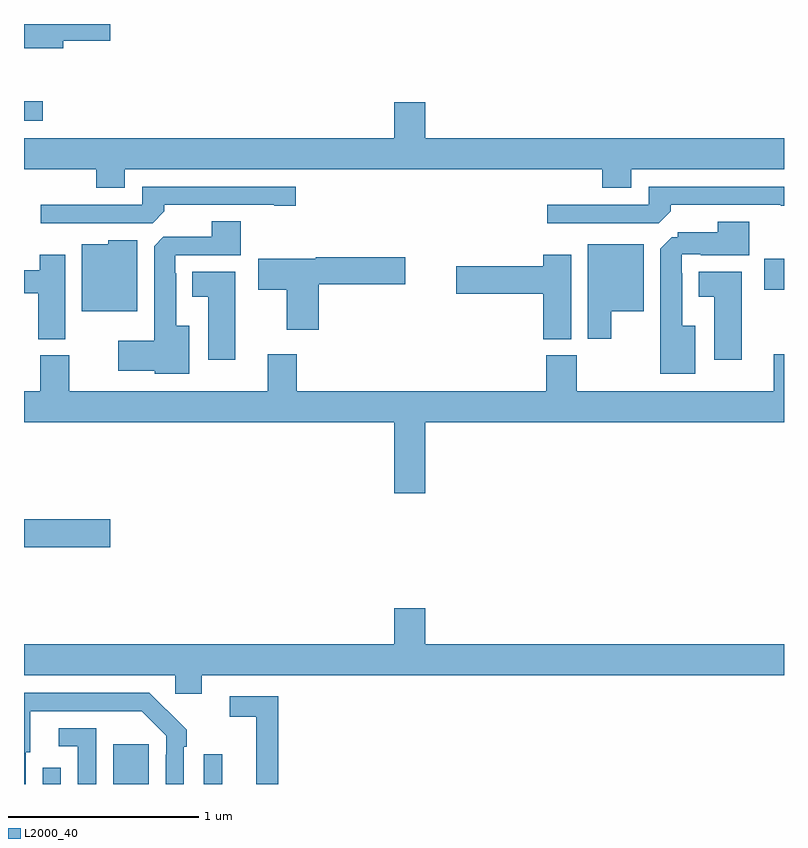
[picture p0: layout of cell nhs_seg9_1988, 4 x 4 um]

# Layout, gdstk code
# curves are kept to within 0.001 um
import gdstk
lib = gdstk.Library(unit=1e-6, precision=1e-09)
def R(c, l, rs):  # rectangles x0, y0, x1, y1
    for r in rs: c.add(gdstk.rectangle(r[:2], r[2:], *l))
def P(c, l, *ps):  # polygons
    for p in ps: c.add(gdstk.Polygon(p, *l))
L2000_40 = (2000, 40)

nhs_seg9_1988 = lib.new_cell('nhs_seg9_1988')
R(nhs_seg9_1988, L2000_40, [(223.098,1210.5,223.194,1210.585), (223.469,1210.5,223.657,1210.708), (223.947,1210.5,224.043,1210.657), (223,1211.747,223.453,1211.894), (226.896,1213.102,227,1213.264), (223,1213.992,223.099,1214.093)])
P(nhs_seg9_1988, L2000_40, [(223.207,1214.411),(223.453,1214.411),(223.453,1214.5),(223,1214.5),(223,1214.372),(223.207,1214.372)],
  [(223.531,1213.736),(226.043,1213.736),(226.043,1213.637),(226.195,1213.637),(226.195,1213.736),(227,1213.736),(227,1213.9),(225.112,1213.9),(225.112,1214.089),(224.948,1214.089),(224.948,1213.9),(223,1213.9),(223,1213.736),(223.379,1213.736),(223.379,1213.637),(223.531,1213.637)],
  [(226.403,1213.514),(226.403,1213.548),(226.982,1213.548),(226.982,1213.543),(227,1213.543),(227,1213.644),(226.287,1213.644),(226.287,1213.548),(225.753,1213.548),(225.753,1213.452),(226.341,1213.452)],
  [(223.739,1213.514),(223.739,1213.548),(224.318,1213.548),(224.318,1213.543),(224.431,1213.543),(224.431,1213.644),(223.623,1213.644),(223.623,1213.548),(223.089,1213.548),(223.089,1213.452),(223.677,1213.452)],
  [(223.87,1212.913),(223.801,1212.913),(223.801,1213.187),(223.797,1213.187),(223.797,1213.284),(224.141,1213.284),(224.141,1213.463),(223.988,1213.463),(223.988,1213.38),(223.734,1213.38),(223.685,1213.331),(223.685,1212.832),(223.497,1212.832),(223.497,1212.674),(223.689,1212.674),(223.689,1212.659),(223.87,1212.659)],
  [(226.534,1212.913),(226.465,1212.913),(226.465,1213.187),(226.461,1213.187),(226.461,1213.287),(226.561,1213.287),(226.561,1213.283),(226.816,1213.283),(226.816,1213.459),(226.652,1213.459),(226.652,1213.405),(226.44,1213.405),(226.44,1213.377),(226.409,1213.377),(226.349,1213.317),(226.349,1212.659),(226.534,1212.659)],
  [(223.597,1213.363),(223.443,1213.363),(223.443,1213.342),(223.304,1213.342),(223.304,1212.989),(223.597,1212.989)],
  [(226.09,1212.989),(226.261,1212.989),(226.261,1213.342),(225.968,1213.342),(225.968,1212.843),(226.09,1212.843)],
  [(225.88,1213.285),(225.734,1213.285),(225.734,1213.226),(225.276,1213.226),(225.276,1213.079),(225.734,1213.079),(225.734,1212.841),(225.88,1212.841)],
  [(223.216,1213.285),(223.082,1213.285),(223.082,1213.203),(223,1213.203),(223,1213.084),(223.075,1213.084),(223.075,1212.841),(223.216,1212.841)],
  [(224.552,1213.13),(225.007,1213.13),(225.007,1213.272),(224.535,1213.272),(224.535,1213.264),(224.232,1213.264),(224.232,1213.102),(224.384,1213.102),(224.384,1212.891),(224.552,1212.891)],
  [(224.113,1213.195),(223.886,1213.195),(223.886,1213.064),(223.97,1213.064),(223.97,1212.732),(224.113,1212.732)],
  [(226.777,1213.195),(226.55,1213.195),(226.55,1213.064),(226.634,1213.064),(226.634,1212.732),(226.777,1212.732)],
  [(225.112,1212.404),(227,1212.404),(227,1212.763),(226.946,1212.763),(226.946,1212.568),(225.909,1212.568),(225.909,1212.756),(225.749,1212.756),(225.749,1212.568),(224.435,1212.568),(224.435,1212.763),(224.282,1212.763),(224.282,1212.568),(223.237,1212.568),(223.237,1212.756),(223.085,1212.756),(223.085,1212.568),(223,1212.568),(223,1212.404),(224.948,1212.404),(224.948,1212.03),(225.112,1212.03)],
  [(223.936,1211.072),(227,1211.072),(227,1211.236),(225.112,1211.236),(225.112,1211.425),(224.948,1211.425),(224.948,1211.236),(223,1211.236),(223,1211.072),(223.797,1211.072),(223.797,1210.974),(223.936,1210.974)],
  [(223.009,1210.668),(223.033,1210.668),(223.033,1210.884),(223.621,1210.884),(223.749,1210.755),(223.749,1210.655),(223.746,1210.655),(223.746,1210.5),(223.842,1210.5),(223.842,1210.697),(223.857,1210.697),(223.857,1210.785),(223.66,1210.98),(223,1210.98),(223,1210.5),(223.009,1210.5)],
  [(224.339,1210.962),(224.082,1210.962),(224.082,1210.854),(224.222,1210.854),(224.222,1210.5),(224.339,1210.5)],
  [(223.38,1210.794),(223.182,1210.794),(223.182,1210.698),(223.284,1210.698),(223.284,1210.5),(223.38,1210.5)])

lib.write_gds('nhs_seg9_1988.gds')
